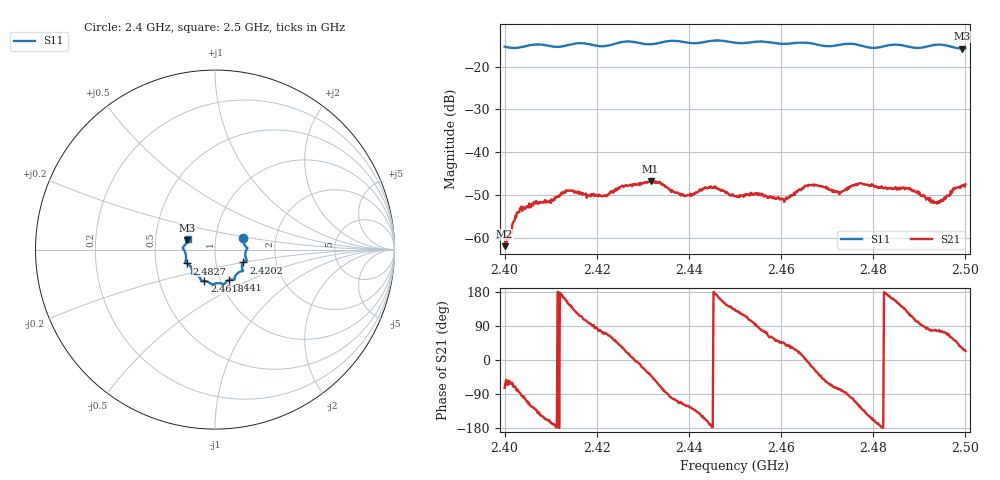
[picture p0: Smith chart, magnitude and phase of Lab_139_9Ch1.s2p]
# Hz S RI R 50
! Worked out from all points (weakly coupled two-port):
!   601 points, 2.4 GHz to 2.5 GHz, reference 50 ohm
!   highest |S21| = -46.70 dB at 2.4317 GHz (marker M1); lowest = -61.9 dB at 2.4 GHz (marker M2)
!   lowest |S11| = -15.8 dB at 2.4993 GHz (marker M3), VSWR 1.39, Z = 36.5 + j3.84 ohm
!   |S11| at or under -10 dB: start of sweep to end of sweep
!   S12 and S22 are empty: the file has one direction only
!   S11 on the Smith chart (normalised r, x): 2.4 GHz: 1.36, +0.18; 2.4202 GHz: 1.36, -0.20; 2.441 GHz: 1.10, -0.39; 2.4618 GHz: 0.84, -0.30; 2.4827 GHz: 0.72, -0.12; 2.5 GHz: 0.73, +0.09
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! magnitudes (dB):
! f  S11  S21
! 2.4 GHz  -15.4  -61.9
! 2.4023 GHz  -15.7  -54.8
! 2.4038 GHz  -15.4  -53.6
! 2.4138 GHz  -15.0  -48.9
! 2.4167 GHz  -14.5  -49.6
! 2.4202 GHz  -15.2  -50.0
! 2.4317 GHz  -14.8  -46.7
! 2.4333 GHz  -14.5  -47.0
! 2.4385 GHz  -14.2  -49.8
! 2.441 GHz  -14.6  -49.9
! 2.4452 GHz  -14.0  -48.3
! 2.45 GHz  -14.4  -50.2
! 2.4618 GHz  -14.6  -50.3
! 2.4667 GHz  -14.6  -47.7
! 2.4725 GHz  -15.0  -49.3
! 2.4772 GHz  -15.1  -47.2
! 2.4827 GHz  -15.2  -48.2
! 2.4833 GHz  -15.0  -48.3
! 2.4877 GHz  -15.4  -48.4
! 2.4938 GHz  -14.9  -52.0
! 2.4993 GHz  -15.8  -47.7
! 2.5 GHz  -15.7  -47.4
